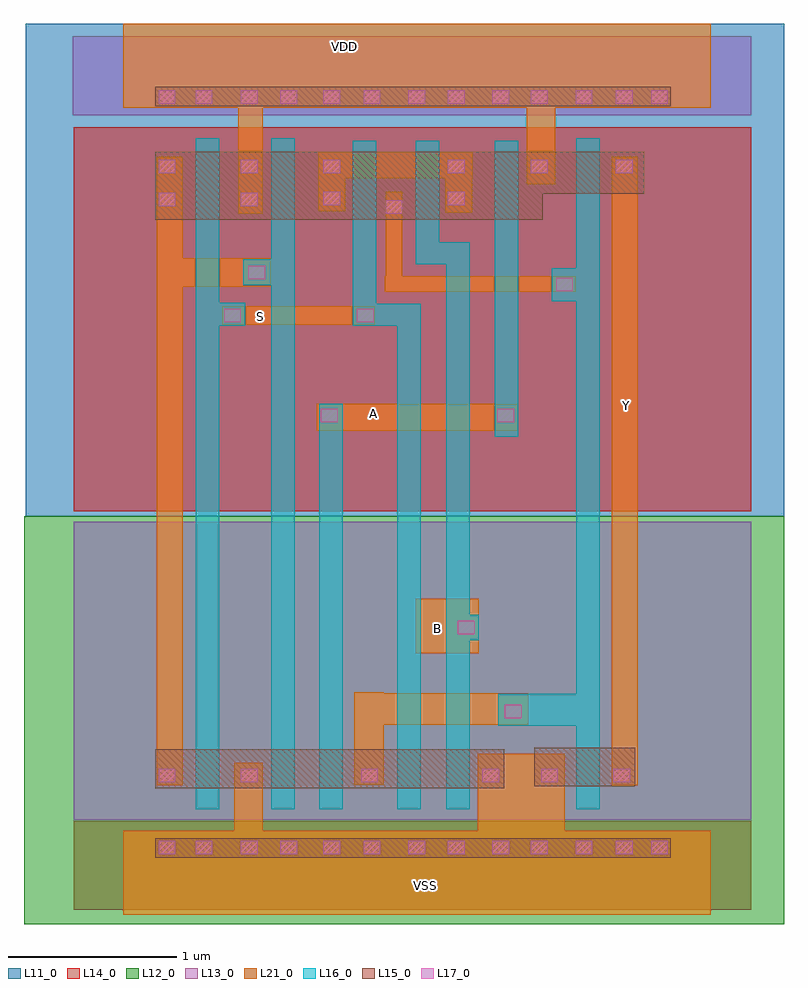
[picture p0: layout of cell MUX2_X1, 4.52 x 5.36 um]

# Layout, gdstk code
import gdstk
lib = gdstk.Library(unit=1e-6, precision=1e-09)
def R(c, l, rs):  # rectangles x0, y0, x1, y1
    for r in rs: c.add(gdstk.rectangle(r[:2], r[2:], *l))
def A(c, l, x, y, w, h, nx, ny, dx, dy):  # array of equal rectangles
    R(c, l, [(x+i*dx, y+j*dy, x+i*dx+w, y+j*dy+h) for i in range(nx) for j in range(ny)])
L11_0 = (11, 0)
L12_0 = (12, 0)
L13_0 = (13, 0)
L14_0 = (14, 0)
L15_0 = (15, 0)
L16_0 = (16, 0)
L17_0 = (17, 0)
L21_0 = (21, 0)

mux2_x1 = lib.new_cell('MUX2_X1')
R(mux2_x1, L11_0, [(-3.065,-0.425,1.445,2.505)])
R(mux2_x1, L12_0, [(-3.075,-2.85,1.445,-0.425)])
R(mux2_x1, L13_0, [(-2.78,-2.23,1.25,-0.455), (-2.785,1.96,1.25,2.43)])
R(mux2_x1, L14_0, [(-2.78,-2.765,1.25,-2.235), (-2.78,-0.395,1.25,1.89)])
R(mux2_x1, L15_0, [(-2.295,-2.455,0.77,-2.34), (-2.295,-2.04,-0.22,-1.81), (-0.04,-2.03,0.56,-1.8), (-2.295,1.34,0.01,1.745), (-0.085,1.495,0.615,1.745), (-2.295,2.015,0.77,2.13)])
R(mux2_x1, L16_0, [(-2.055,-2.165,-1.915,1.825), (-1.605,-2.165,-1.465,1.825), (-1.32,-2.165,-1.18,0.245), (-0.855,-2.165,-0.715,0.835), (-0.565,-2.165,-0.425,1.19), (0.21,-2.165,0.35,1.825), (-0.255,-1.67,0.335,-1.48), (-0.525,-1.16,-0.37,-1.01), (-0.275,0.05,-0.135,1.81), (-2.05,0.71,-1.76,0.845), (-1.12,0.71,-0.98,1.81), (-1.115,0.71,-0.715,0.84), (0.065,0.855,0.33,1.05), (-1.77,0.95,-1.47,1.105), (-0.745,1.075,-0.425,1.205), (-0.745,1.08,-0.605,1.81)])
A(mux2_x1, L17_0, -2.275, 1.615, 0.1, 0.08, 3, 1, 0.49, 0)
R(mux2_x1, L17_0, [(-2.275,-2.435,-2.175,-2.355), (-2.275,-2.435,-2.175,-2.355), (-2.055,-2.435,-1.955,-2.355), (-1.785,-2.435,-1.685,-2.355), (-1.55,-2.435,-1.45,-2.355), (-1.295,-2.435,-1.195,-2.355), (-1.055,-2.435,-0.955,-2.355), (-0.79,-2.435,-0.69,-2.355), (-0.555,-2.435,-0.455,-2.355), (-0.29,-2.435,-0.19,-2.355), (-0.06,-2.435,0.04,-2.355), (0.205,-2.435,0.305,-2.355), (0.445,-2.435,0.545,-2.355), (0.655,-2.435,0.755,-2.355), (-2.275,-2.005,-2.175,-1.925), (-2.275,-2.005,-2.175,-1.925), (-1.785,-2.005,-1.685,-1.925), (-1.07,-2.005,-0.97,-1.925), (-0.35,-2.005,-0.25,-1.925), (0,-2.005,0.1,-1.925), (0.43,-2.005,0.53,-1.925), (-0.215,-1.625,-0.115,-1.545), (-0.495,-1.125,-0.395,-1.045), (-1.31,0.135,-1.21,0.215), (-0.26,0.135,-0.16,0.215), (-1.885,0.73,-1.785,0.81), (-1.095,0.73,-0.995,0.81), (0.09,0.915,0.19,0.995), (-1.74,0.985,-1.64,1.065), (-0.925,1.375,-0.825,1.455), (-2.275,1.42,-2.175,1.5), (-1.785,1.42,-1.685,1.5), (-1.295,1.425,-1.195,1.505), (-0.555,1.425,-0.455,1.505), (-2.275,1.615,-2.175,1.695), (-0.555,1.615,-0.455,1.695), (-0.06,1.615,0.04,1.695), (0.445,1.615,0.545,1.695), (-2.275,2.03,-2.175,2.11), (-2.275,2.03,-2.175,2.11), (-2.055,2.03,-1.955,2.11), (-1.785,2.03,-1.685,2.11), (-1.55,2.03,-1.45,2.11), (-1.295,2.03,-1.195,2.11), (-1.055,2.03,-0.955,2.11), (-0.79,2.03,-0.69,2.11), (-0.555,2.03,-0.455,2.11), (-0.29,2.03,-0.19,2.11), (-0.06,2.03,0.04,2.11), (0.205,2.03,0.305,2.11), (0.445,2.03,0.545,2.11), (0.655,2.03,0.755,2.11)])
R(mux2_x1, L21_0, [(-2.485,-2.795,1.01,-2.295), (-1.825,-2.46,-1.655,-1.89), (-0.375,-2.455,0.14,-1.835), (-2.285,-2.025,-2.13,1.715), (0.42,-2.025,0.575,1.715), (-1.11,-2.02,-0.935,-1.47), (-1.105,-1.665,-0.075,-1.475), (-0.745,-1.24,-0.37,-0.915), (-1.335,0.085,-0.135,0.245), (-1.895,0.715,-0.985,0.825), (-0.93,0.91,0.21,1.005), (-0.925,0.915,-0.825,1.505), (-2.285,0.94,-1.605,1.11), (-1.8,1.375,-1.655,2.13), (-0.57,1.38,-0.41,1.745), (-1.325,1.39,-1.165,1.745), (-0.085,1.55,0.085,2.125), (-1.32,1.585,-0.405,1.745), (-2.485,2.005,1.01,2.505)])
mux2_x1.add(gdstk.Label('VSS', (-0.69,-2.62), layer=21, texttype=251))
mux2_x1.add(gdstk.Label('VDD', (-1.17,2.37), layer=21, texttype=251))
mux2_x1.add(gdstk.Label('Y', (0.51,0.235), layer=21, texttype=251))
mux2_x1.add(gdstk.Label('B', (-0.615,-1.09), layer=21, texttype=251))
mux2_x1.add(gdstk.Label('A', (-0.995,0.185), layer=21, texttype=251))
mux2_x1.add(gdstk.Label('S', (-1.67,0.765), layer=21, texttype=251))

lib.write_gds('MUX2_X1.gds')
